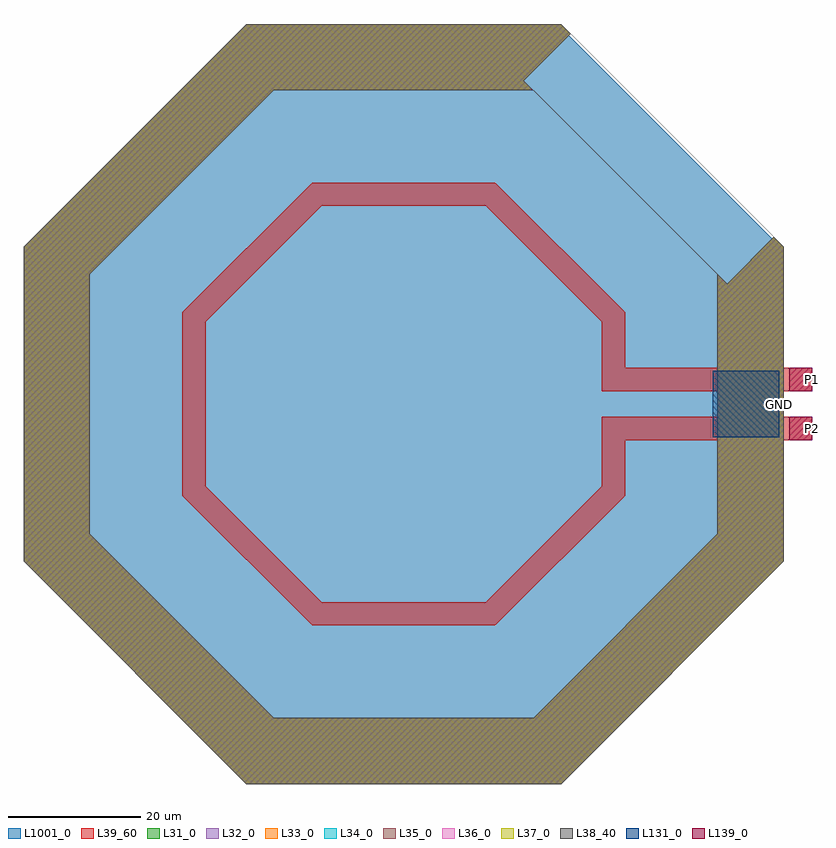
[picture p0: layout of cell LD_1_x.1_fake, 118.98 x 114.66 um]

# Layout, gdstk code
import gdstk
lib = gdstk.Library(unit=1e-6, precision=1e-09)
def R(c, l, rs):  # rectangles x0, y0, x1, y1
    for r in rs: c.add(gdstk.rectangle(r[:2], r[2:], *l))
def P(c, l, *ps):  # polygons
    for p in ps: c.add(gdstk.Polygon(p, *l))
L31_0 = (31, 0)
L32_0 = (32, 0)
L33_0 = (33, 0)
L34_0 = (34, 0)
L35_0 = (35, 0)
L36_0 = (36, 0)
L37_0 = (37, 0)
L38_40 = (38, 40)
L39_60 = (39, 60)
L131_0 = (131, 0)
L139_0 = (139, 0)
L1001_0 = (1001, 0)

ld_1_x_1_fake = lib.new_cell('LD_1_x.1_fake')
P(ld_1_x_1_fake, L31_0, [(48.796,18.141),(55.867,25.212),(23.747,57.331),(-23.747,57.331),(-57.331,23.747),(-57.331,-23.747),(-23.747,-57.331),(23.747,-57.331),(57.331,-23.747),(57.331,23.747),(25.212,55.867),(18.141,48.796),(47.331,19.605),(47.331,-19.605),(19.605,-47.331),(-19.605,-47.331),(-47.331,-19.605),(-47.331,19.605),(-19.605,47.331),(19.605,47.331)])
P(ld_1_x_1_fake, L32_0, [(48.796,18.141),(55.867,25.212),(23.747,57.331),(-23.747,57.331),(-57.331,23.747),(-57.331,-23.747),(-23.747,-57.331),(23.747,-57.331),(57.331,-23.747),(57.331,23.747),(25.212,55.867),(18.141,48.796),(47.331,19.605),(47.331,-19.605),(19.605,-47.331),(-19.605,-47.331),(-47.331,-19.605),(-47.331,19.605),(-19.605,47.331),(19.605,47.331)])
P(ld_1_x_1_fake, L33_0, [(48.796,18.141),(55.867,25.212),(23.747,57.331),(-23.747,57.331),(-57.331,23.747),(-57.331,-23.747),(-23.747,-57.331),(23.747,-57.331),(57.331,-23.747),(57.331,23.747),(25.212,55.867),(18.141,48.796),(47.331,19.605),(47.331,-19.605),(19.605,-47.331),(-19.605,-47.331),(-47.331,-19.605),(-47.331,19.605),(-19.605,47.331),(19.605,47.331)])
P(ld_1_x_1_fake, L34_0, [(48.796,18.141),(55.867,25.212),(23.747,57.331),(-23.747,57.331),(-57.331,23.747),(-57.331,-23.747),(-23.747,-57.331),(23.747,-57.331),(57.331,-23.747),(57.331,23.747),(25.212,55.867),(18.141,48.796),(47.331,19.605),(47.331,-19.605),(19.605,-47.331),(-19.605,-47.331),(-47.331,-19.605),(-47.331,19.605),(-19.605,47.331),(19.605,47.331)])
P(ld_1_x_1_fake, L35_0, [(48.796,18.141),(55.867,25.212),(23.747,57.331),(-23.747,57.331),(-57.331,23.747),(-57.331,-23.747),(-23.747,-57.331),(23.747,-57.331),(57.331,-23.747),(57.331,23.747),(25.212,55.867),(18.141,48.796),(47.331,19.605),(47.331,-19.605),(19.605,-47.331),(-19.605,-47.331),(-47.331,-19.605),(-47.331,19.605),(-19.605,47.331),(19.605,47.331)])
P(ld_1_x_1_fake, L36_0, [(48.796,18.141),(55.867,25.212),(23.747,57.331),(-23.747,57.331),(-57.331,23.747),(-57.331,-23.747),(-23.747,-57.331),(23.747,-57.331),(57.331,-23.747),(57.331,23.747),(25.212,55.867),(18.141,48.796),(47.331,19.605),(47.331,-19.605),(19.605,-47.331),(-19.605,-47.331),(-47.331,-19.605),(-47.331,19.605),(-19.605,47.331),(19.605,47.331)])
P(ld_1_x_1_fake, L37_0, [(48.796,18.141),(55.867,25.212),(23.747,57.331),(-23.747,57.331),(-57.331,23.747),(-57.331,-23.747),(-23.747,-57.331),(23.747,-57.331),(57.331,-23.747),(57.331,23.747),(25.212,55.867),(18.141,48.796),(47.331,19.605),(47.331,-19.605),(19.605,-47.331),(-19.605,-47.331),(-47.331,-19.605),(-47.331,19.605),(-19.605,47.331),(19.605,47.331)])
P(ld_1_x_1_fake, L38_40, [(48.796,18.141),(55.867,25.212),(23.747,57.331),(-23.747,57.331),(-57.331,23.747),(-57.331,-23.747),(-23.747,-57.331),(23.747,-57.331),(57.331,-23.747),(57.331,23.747),(25.212,55.867),(18.141,48.796),(47.331,19.605),(47.331,-19.605),(19.605,-47.331),(-19.605,-47.331),(-47.331,-19.605),(-47.331,19.605),(-19.605,47.331),(19.605,47.331)])
R(ld_1_x_1_fake, L39_60, [(29.895,-5.44,61.645,-1.94), (29.895,1.94,61.645,5.44)])
P(ld_1_x_1_fake, L39_60, [(29.895,3.69),(33.395,3.69),(33.395,13.83),(13.83,33.395),(-13.83,33.395),(-33.395,13.83),(-33.395,-13.83),(-13.83,-33.395),(13.83,-33.395),(33.395,-13.83),(33.395,-3.69),(29.895,-3.69),(29.895,-12.38),(12.38,-29.895),(-12.38,-29.895),(-29.895,-12.38),(-29.895,12.38),(-12.38,29.895),(12.38,29.895),(29.895,12.38)],
  [(48.796,18.141),(55.867,25.212),(23.747,57.331),(-23.747,57.331),(-57.331,23.747),(-57.331,-23.747),(-23.747,-57.331),(23.747,-57.331),(57.331,-23.747),(57.331,23.747),(25.212,55.867),(18.141,48.796),(47.331,19.605),(47.331,-19.605),(19.605,-47.331),(-19.605,-47.331),(-47.331,-19.605),(-47.331,19.605),(-19.605,47.331),(19.605,47.331)])
R(ld_1_x_1_fake, L131_0, [(46.645,-5,56.645,5)])
R(ld_1_x_1_fake, L139_0, [(58.145,-5.44,61.645,-1.94), (58.145,1.94,61.645,5.44)])
P(ld_1_x_1_fake, L1001_0, [(56.951,23.59),(23.59,56.951),(-23.59,56.951),(-56.951,23.59),(-56.951,-23.59),(-23.59,-56.951),(23.59,-56.951),(56.951,-23.59)],
  [(56.951,23.59),(23.59,56.951),(-23.59,56.951),(-56.951,23.59),(-56.951,-23.59),(-23.59,-56.951),(23.59,-56.951),(56.951,-23.59)],
  [(56.951,23.59),(23.59,56.951),(-23.59,56.951),(-56.951,23.59),(-56.951,-23.59),(-23.59,-56.951),(23.59,-56.951),(56.951,-23.59)],
  [(56.951,23.59),(23.59,56.951),(-23.59,56.951),(-56.951,23.59),(-56.951,-23.59),(-23.59,-56.951),(23.59,-56.951),(56.951,-23.59)],
  [(56.951,23.59),(23.59,56.951),(-23.59,56.951),(-56.951,23.59),(-56.951,-23.59),(-23.59,-56.951),(23.59,-56.951),(56.951,-23.59)],
  [(56.951,23.59),(23.59,56.951),(-23.59,56.951),(-56.951,23.59),(-56.951,-23.59),(-23.59,-56.951),(23.59,-56.951),(56.951,-23.59)],
  [(56.951,23.59),(23.59,56.951),(-23.59,56.951),(-56.951,23.59),(-56.951,-23.59),(-23.59,-56.951),(23.59,-56.951),(56.951,-23.59)],
  [(56.951,23.59),(23.59,56.951),(-23.59,56.951),(-56.951,23.59),(-56.951,-23.59),(-23.59,-56.951),(23.59,-56.951),(56.951,-23.59)],
  [(56.951,23.59),(23.59,56.951),(-23.59,56.951),(-56.951,23.59),(-56.951,-23.59),(-23.59,-56.951),(23.59,-56.951),(56.951,-23.59)])
ld_1_x_1_fake.add(gdstk.Label('P1', (61.643,3.687), layer=139, texttype=0))
ld_1_x_1_fake.add(gdstk.Label('P2', (61.643,-3.687), layer=139, texttype=0))
ld_1_x_1_fake.add(gdstk.Label('GND', (56.643,0), layer=131, texttype=0))

lib.write_gds('LD_1_x.1_fake.gds')
